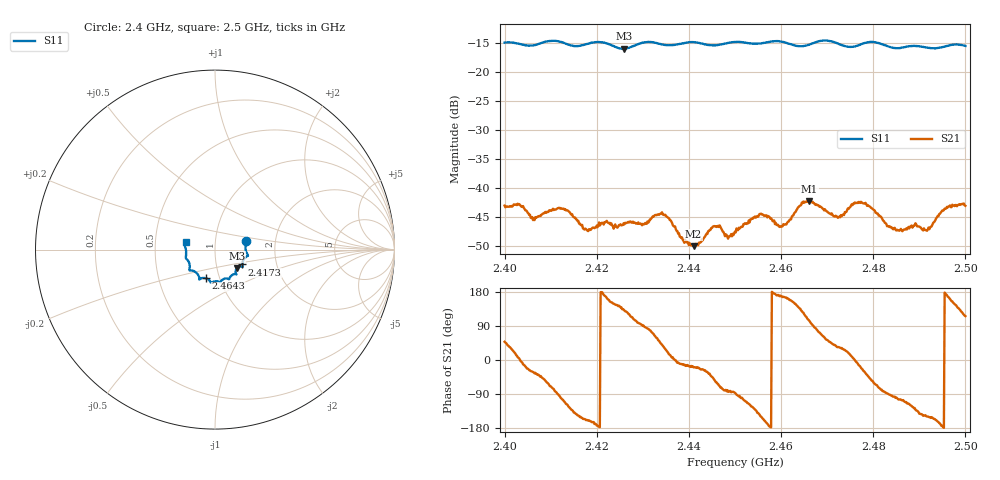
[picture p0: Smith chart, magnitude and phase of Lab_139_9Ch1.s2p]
# Hz S RI R 50
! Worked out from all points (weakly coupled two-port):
!   601 points, 2.4 GHz to 2.5 GHz, reference 50 ohm
!   highest |S21| = -42.23 dB at 2.4662 GHz (marker M1); lowest = -50.1 dB at 2.441 GHz (marker M2)
!   lowest |S11| = -15.9 dB at 2.4258 GHz (marker M3), VSWR 1.38, Z = 62.2 - j13.2 ohm
!   |S11| at or under -10 dB: start of sweep to end of sweep
!   S12 and S22 are empty: the file has one direction only
!   S11 on the Smith chart (normalised r, x): 2.4 GHz: 1.41, +0.14; 2.4173 GHz: 1.34, -0.23; 2.4643 GHz: 0.86, -0.28; 2.5 GHz: 0.72, +0.06
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2.4e9  0.1738 0.0492  0.0047 0.00523  0 0  0 0
2.403333e9  0.1727 0.0317  0.00713 4.99e-05  0 0  0 0
2.406167e9  0.1704 -0.000904  0.00448 -0.00278  0 0  0 0
2.412667e9  0.1762 -0.0388  -0.00171 -0.00636  0 0  0 0
2.416667e9  0.1527 -0.0752  -0.00423 -0.00222  0 0  0 0
2.417333e9  0.152 -0.0828  -0.00398 -0.0018  0 0  0 0
2.425833e9  0.1213 -0.1036  -0.00338 0.00362  0 0  0 0
2.433333e9  0.1128 -0.1367  0.00363 0.00465  0 0  0 0
2.441e9  0.078 -0.1646  0.00296 -0.00105  0 0  0 0
2.445333e9  0.0523 -0.1624  0.00306 -0.00351  0 0  0 0
2.45e9  0.0296 -0.1806  0.000242 -0.00419  0 0  0 0
2.455667e9  -0.00403 -0.1777  -0.00517 -0.00304  0 0  0 0
2.460667e9  -0.0254 -0.1802  -0.00468 0.00114  0 0  0 0
2.464333e9  -0.0503 -0.16  -0.00466 0.00535  0 0  0 0
2.466167e9  -0.0713 -0.1582  -0.00173 0.00754  0 0  0 0
2.466667e9  -0.076 -0.1594  -0.000625 0.00748  0 0  0 0
2.472333e9  -0.0882 -0.1536  0.00456 0.0031  0 0  0 0
2.477833e9  -0.1341 -0.1158  0.00648 -0.00348  0 0  0 0
2.483333e9  -0.1405 -0.0893  -6.92e-06 -0.00467  0 0  0 0
2.491667e9  -0.161 -0.029  -0.00365 -0.00219  0 0  0 0
2.496e9  -0.1676 0.0195  -0.00677 0.00109  0 0  0 0
2.5e9  -0.1637 0.0415  -0.00304 0.00631  0 0  0 0
